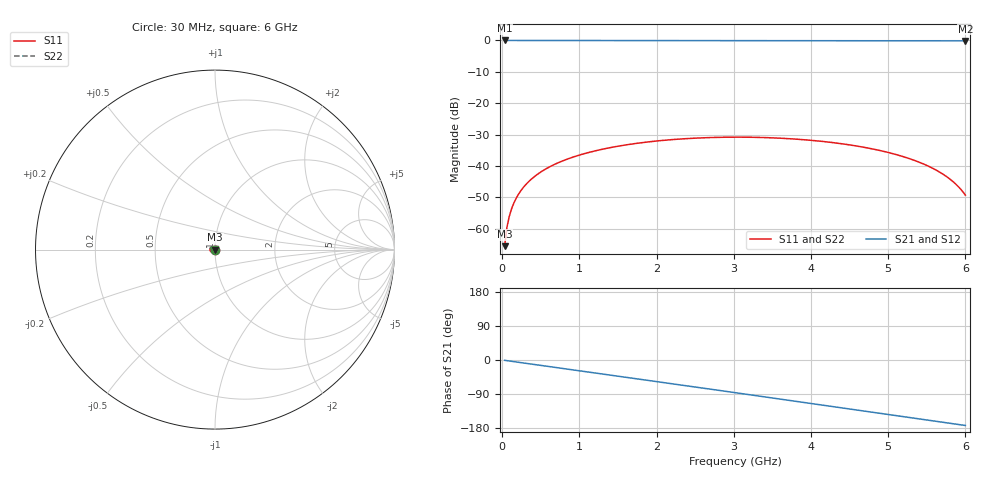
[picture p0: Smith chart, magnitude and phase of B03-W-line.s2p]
! yapnr Order 0 O0-W: O0-W B03 W dL14 (line, family W)
! stackup OSHPARK-4L-FR408HR, nominal parameters; geometry of the OSHPARK-4L-FR408HR design
! model: 2D quasi-static RLGC (Djordjevic-Sarkar, Huray roughness, Wheeler loss); generated by python -m yapnr.rf.coupons expected --stackup OSHPARK-4L-FR408HR --upload W
! reference planes 10 mm from each end; 50 ohm (from the W line's Zc)
# GHz S DB R 50
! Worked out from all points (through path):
!   200 points, 30 MHz to 6 GHz, reference 50 ohm
!   highest |S21| = 0.00 dB at 30 MHz (marker M1); lowest = -0.1 dB at 6 GHz (marker M2)
!   group delay of S21, straight-line fit = 79.9 ps
!   lowest |S11| = -65.6 dB at 30 MHz (marker M3), VSWR 1.00, Z = 50 - j0.0526 ohm
!   |S11| at or under -10 dB: start of sweep to end of sweep
!   |S22| runs from -65.6 to -30.8 dB; largest |S21 - S12| = 0
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0.03  -65.57 -87.1  -0.00 -0.9  -0.00 -0.9  -65.57 -87.1
0.06  -59.57 -91.0  -0.00 -1.7  -0.00 -1.7  -59.57 -91.0
0.09  -56.12 -93.2  -0.00 -2.6  -0.00 -2.6  -56.12 -93.2
0.12  -53.69 -94.8  -0.00 -3.4  -0.00 -3.4  -53.69 -94.8
0.21  -49.01 -98.7  -0.01 -6.0  -0.01 -6.0  -49.01 -98.7
0.3  -46.06 -101.9  -0.01 -8.6  -0.01 -8.6  -46.06 -101.9
0.42  -43.32 -105.9  -0.01 -12.0  -0.01 -12.0  -43.32 -105.9
0.6  -40.46 -111.6  -0.01 -17.1  -0.01 -17.1  -40.46 -111.6
0.81  -38.12 -118.0  -0.02 -23.1  -0.02 -23.1  -38.12 -118.0
1.05  -36.17 -125.1  -0.02 -29.9  -0.02 -29.9  -36.17 -125.1
1.5  -33.70 -138.3  -0.03 -42.8  -0.03 -42.8  -33.70 -138.3
2.04  -31.95 -154.1  -0.05 -58.2  -0.05 -58.2  -31.95 -154.1
2.55  -31.08 -168.8  -0.06 -72.8  -0.06 -72.8  -31.08 -168.8
3.03  -30.82 177.3  -0.07 -86.5  -0.07 -86.5  -30.82 177.3
3.51  -31.05 163.4  -0.08 -100.4  -0.08 -100.4  -31.05 163.4
4.02  -31.87 148.7  -0.09 -115.1  -0.09 -115.1  -31.87 148.7
4.5  -33.29 134.9  -0.09 -129.0  -0.09 -129.0  -33.29 134.9
5.01  -35.76 120.4  -0.10 -143.8  -0.10 -143.8  -35.76 120.4
5.37  -38.51 110.4  -0.11 -154.3  -0.11 -154.3  -38.51 110.4
5.64  -41.59 103.3  -0.11 -162.2  -0.11 -162.2  -41.59 103.3
5.85  -45.22 98.5  -0.12 -168.4  -0.12 -168.4  -45.22 98.5
6  -49.31 96.6  -0.12 -172.8  -0.12 -172.8  -49.31 96.6
